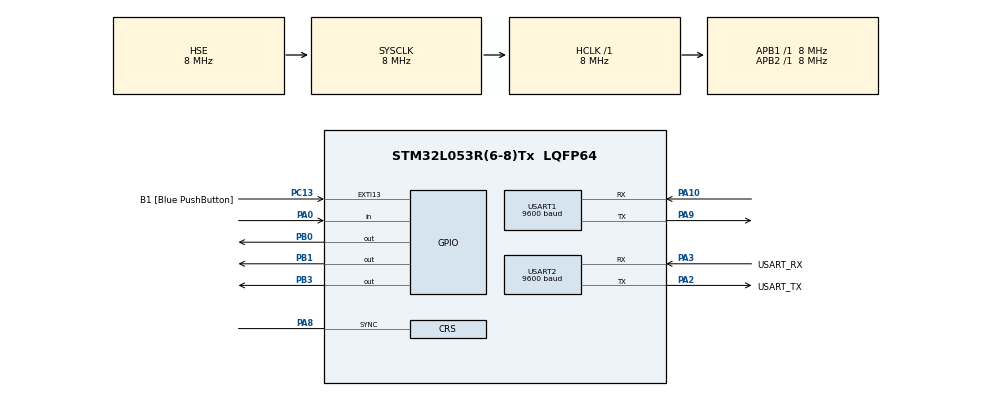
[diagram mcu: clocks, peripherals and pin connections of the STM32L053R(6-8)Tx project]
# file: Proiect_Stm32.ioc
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Mcu.Family=STM32L0
Mcu.Name=STM32L053R(6-8)Tx
Mcu.Package=LQFP64
NVIC.USART1_IRQn=true\:0\:0\:false\:false\:true\:true\:true\:true
PA0.Signal=GPIO_Input
PA10.Mode=Asynchronous
PA10.Signal=USART1_RX
PA13.GPIO_Label=TMS
PA13.Mode=Serial_Wire
PA13.Signal=SYS_SWDIO
PA14.GPIO_Label=TCK
PA14.Mode=Serial_Wire
PA14.Signal=SYS_SWCLK
PA2.GPIO_Label=USART_TX
PA2.Mode=Asynchronous
PA2.Signal=USART2_TX
PA3.GPIO_Label=USART_RX
PA3.Mode=Asynchronous
PA3.Signal=USART2_RX
PA8.Mode=CRS SYNC Source GPIO
PA8.Signal=CRS_SYNC
PA9.Mode=Asynchronous
PA9.Signal=USART1_TX
PB0.Signal=GPIO_Output
PB1.Signal=GPIO_Output
PB3.Signal=GPIO_Output
PC13.GPIO_Label=B1 [Blue PushButton]
PC13.GPIO_ModeDefaultEXTI=GPIO_MODE_IT_FALLING
PC13.Signal=GPXTI13
PC14-OSC32_IN.Mode=LSE-External-Oscillator
PC14-OSC32_IN.Signal=RCC_OSC32_IN
PC15-OSC32_OUT.Mode=LSE-External-Oscillator
PC15-OSC32_OUT.Signal=RCC_OSC32_OUT
PH0-OSC_IN.Mode=HSE-External-Clock-Source
PH0-OSC_IN.Signal=RCC_OSC_IN
PH1-OSC_OUT.Signal=RCC_OSC_OUT
ProjectManager.HeapSize=0x200
ProjectManager.StackSize=0x400
ProjectManager.TargetToolchain=STM32CubeIDE
RCC.AHBFreq_Value=8000000
RCC.APB1Freq_Value=8000000
RCC.APB1TimFreq_Value=8000000
RCC.APB2Freq_Value=8000000
RCC.APB2TimFreq_Value=8000000
RCC.HCLKFreq_Value=8000000
RCC.HSE_VALUE=8000000
RCC.HSI16_VALUE=16000000
RCC.HSI48_VALUE=48000000
RCC.HSI_VALUE=16000000
RCC.MSI_VALUE=2097000
RCC.SYSCLKFreq_VALUE=8000000
RCC.SYSCLKSource=RCC_SYSCLKSOURCE_HSE
RCC.VCOOutputFreq_Value=48000000
USART1.BaudRate=9600
USART1.VirtualMode-Asynchronous=VM_ASYNC
USART2.BaudRate=9600
USART2.RxPinLevelInvertParam=ADVFEATURE_RXINV_DISABLE
USART2.TxPinLevelInvertParam=ADVFEATURE_TXINV_DISABLE
USART2.VirtualMode-Asynchronous=VM_ASYNC
board=NUCLEO-L053R8

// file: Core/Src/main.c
/* USER CODE BEGIN Header */
/**
  ******************************************************************************
  * @file           : main.c
  * @brief          : Test STM32L053R8 + LED (PB0) + BUZZER (PB1)
  *                   + DHT11 (PA0) + HC-05 (USART1 PA9/PA10)
  ******************************************************************************
  */
/* USER CODE END Header */
#include "main.h"

/* USER CODE BEGIN Includes */
#include <stdio.h>
#include <string.h>
/* USER CODE END Includes */

/* USER CODE BEGIN PD */

#define DHT11_PORT GPIOA
#define DHT11_PIN  GPIO_PIN_0

#define TEMP_THRESHOLD  28    // prag temperatura pentru alarma (°C)

/* USER CODE END PD */

UART_HandleTypeDef huart1;
UART_HandleTypeDef huart2;

/* USER CODE BEGIN PV */

uint8_t temperature = 0;
uint8_t humidity    = 0;
uint8_t dht_raw[5] = {0};

/* USER CODE END PV */

void SystemClock_Config(void);
static void MX_GPIO_Init(void);
static void MX_USART2_UART_Init(void);
static void MX_USART1_UART_Init(void);
/* USER CODE BEGIN PFP */

void delay_us(uint16_t us);
void DHT11_SetPinOutput(void);
void DHT11_SetPinInput(void);
uint8_t DHT11_Read(uint8_t *temp, uint8_t *hum);
void Buzzer_Beep(uint16_t ms);
void LED_On(void);
void LED_Off(void);

/* USER CODE END PFP */

/* USER CODE BEGIN 0 */

void delay_us(uint16_t us)
{
  /* Delay aproximativ in microsecunde bazat pe bucla.
     Se bazeaza pe SystemCoreClock (~8 MHz). */
  uint32_t cycles = (SystemCoreClock / 1000000) * us / 4;
  while (cycles--)
  {
    __NOP();
  }
}

void DHT11_SetPinOutput(void)
{
  GPIO_InitTypeDef GPIO_InitStruct = {0};
  GPIO_InitStruct.Pin = DHT11_PIN;
  GPIO_InitStruct.Mode = GPIO_MODE_OUTPUT_PP;
  GPIO_InitStruct.Pull = GPIO_NOPULL;
  GPIO_InitStruct.Speed = GPIO_SPEED_FREQ_LOW;
  HAL_GPIO_Init(DHT11_PORT, &GPIO_InitStruct);
}

void DHT11_SetPinInput(void)
{
  GPIO_InitTypeDef GPIO_InitStruct = {0};
  GPIO_InitStruct.Pin = DHT11_PIN;
  GPIO_InitStruct.Mode = GPIO_MODE_INPUT;
  GPIO_InitStruct.Pull = GPIO_NOPULL;
  HAL_GPIO_Init(DHT11_PORT, &GPIO_InitStruct);
}

/* Returneaza 0 daca citirea a reusit */
uint8_t DHT11_Read(uint8_t *temp, uint8_t *hum)
{
  uint8_t data[5] = {0};
  uint8_t i, j;
  uint32_t timeout;

  /* 1. start signal de la MCU */
  DHT11_SetPinOutput();
  HAL_GPIO_WritePin(DHT11_PORT, DHT11_PIN, GPIO_PIN_RESET);
  HAL_Delay(20);                // min 18 ms low

  HAL_GPIO_WritePin(DHT11_PORT, DHT11_PIN, GPIO_PIN_SET);
  delay_us(30);                 // 20-40 us high

  DHT11_SetPinInput();

  /* 2. Raspuns senzor (80us low + 80us high) */
  timeout = 0;
  while (HAL_GPIO_ReadPin(DHT11_PORT, DHT11_PIN) == GPIO_PIN_SET)
  {
    if (++timeout > 10000) return 1;
  }

  timeout = 0;
  while (HAL_GPIO_ReadPin(DHT11_PORT, DHT11_PIN) == GPIO_PIN_RESET)
  {
    if (++timeout > 10000) return 2;
  }

  timeout = 0;
  while (HAL_GPIO_ReadPin(DHT11_PORT, DHT11_PIN) == GPIO_PIN_SET)
  {
    if (++timeout > 10000) return 3;
  }

  /* 3. Citire 5 octeti (40 biti) – metoda "sample la 35us" */
  for (j = 0; j < 5; j++)
  {
    uint8_t byte = 0;
    for (i = 0; i < 8; i++)
    {
      /* asteptam inceputul bitului: pin LOW -> HIGH */
      timeout = 0;
      while (HAL_GPIO_ReadPin(DHT11_PORT, DHT11_PIN) == GPIO_PIN_RESET)
      {
        if (++timeout > 10000) return 4;
      }

      /* asteptam ~35us dupa frontul crescator */
      delay_us(35);

      /* citim nivelul: HIGH = 1, LOW = 0 */
      if (HAL_GPIO_ReadPin(DHT11_PORT, DHT11_PIN) == GPIO_PIN_SET)
      {
        byte |= (1 << (7 - i));
      }

      /* asteptam sa revina LOW inainte de urmatorul bit */
      timeout = 0;
      while (HAL_GPIO_ReadPin(DHT11_PORT, DHT11_PIN) == GPIO_PIN_SET)
      {
        if (++timeout > 10000) break;
      }
    }
    data[j] = byte;
  }

  /* 4. Copiem datele in buffer global pentru debug */
  for (i = 0; i < 5; i++)
  {
    dht_raw[i] = data[i];
  }

  *hum  = data[0]; // umiditate intreaga
  *temp = data[2]; // temperatura intreaga

  uint8_t sum = data[0] + data[1] + data[2] + data[3];

  if ((uint8_t)sum != data[4])
  {
    // checksum gresit, dar intoarcem totusi datele pentru debug
    return 5;
  }

  return 0;
}

void Buzzer_Beep(uint16_t ms)
{
  HAL_GPIO_WritePin(GPIOB, GPIO_PIN_1, GPIO_PIN_SET);
  HAL_Delay(ms);
  HAL_GPIO_WritePin(GPIOB, GPIO_PIN_1, GPIO_PIN_RESET);
}

void LED_On(void)
{
  HAL_GPIO_WritePin(GPIOB, GPIO_PIN_0, GPIO_PIN_SET);
}

void LED_Off(void)
{
  HAL_GPIO_WritePin(GPIOB, GPIO_PIN_0, GPIO_PIN_RESET);
}

/* USER CODE END 0 */

int main(void)
{

  /* MCU Configuration--------------------------------------------------------*/

  /* Reset of all peripherals, Initializes the Flash interface and the Systick. */
  HAL_Init();

  /* Configure the system clock */
  SystemClock_Config();

  /* Initialize all configured peripherals */
  MX_GPIO_Init();
  MX_USART2_UART_Init();
  MX_USART1_UART_Init();
  /* USER CODE BEGIN 2 */

  char msg[64];
  uint8_t status;

  /* USER CODE END 2 */

  /* Infinite loop */
  /* USER CODE BEGIN WHILE */
  while (1)
  {
    status = DHT11_Read(&temperature, &humidity);

    // Formam un mesaj detaliat
    snprintf(msg, sizeof(msg),
             "st=%d T=%dC H=%d%% raw=%d,%d,%d,%d,%d\r\n",
             status,
             temperature,
             humidity,
             dht_raw[0], dht_raw[1], dht_raw[2], dht_raw[3], dht_raw[4]);

    HAL_UART_Transmit(&huart1, (uint8_t*)msg, (uint16_t)strlen(msg), HAL_MAX_DELAY);

    HAL_Delay(2000);
  }

  /* USER CODE END 3 */
}

void SystemClock_Config(void)
{
  RCC_OscInitTypeDef RCC_OscInitStruct = {0};
  RCC_ClkInitTypeDef RCC_ClkInitStruct = {0};
  RCC_PeriphCLKInitTypeDef PeriphClkInit = {0};
  RCC_CRSInitTypeDef RCC_CRSInitStruct = {0};

  /** Configure the main internal regulator output voltage
  */
  __HAL_PWR_VOLTAGESCALING_CONFIG(PWR_REGULATOR_VOLTAGE_SCALE1);

  /** Initializes the RCC Oscillators according to the specified parameters
  * in the RCC_OscInitTypeDef structure.
  */
  RCC_OscInitStruct.OscillatorType = RCC_OSCILLATORTYPE_HSE;
  RCC_OscInitStruct.HSEState = RCC_HSE_BYPASS;
  RCC_OscInitStruct.PLL.PLLState = RCC_PLL_NONE;
  if (HAL_RCC_OscConfig(&RCC_OscInitStruct) != HAL_OK)
  {
    Error_Handler();
  }

  /** Initializes the CPU, AHB and APB buses clocks
  */
  RCC_ClkInitStruct.ClockType = RCC_CLOCKTYPE_HCLK|RCC_CLOCKTYPE_SYSCLK
                              |RCC_CLOCKTYPE_PCLK1|RCC_CLOCKTYPE_PCLK2;
  RCC_ClkInitStruct.SYSCLKSource = RCC_SYSCLKSOURCE_HSE;
  RCC_ClkInitStruct.AHBCLKDivider = RCC_SYSCLK_DIV1;
  RCC_ClkInitStruct.APB1CLKDivider = RCC_HCLK_DIV1;
  RCC_ClkInitStruct.APB2CLKDivider = RCC_HCLK_DIV1;

  if (HAL_RCC_ClockConfig(&RCC_ClkInitStruct, FLASH_LATENCY_0) != HAL_OK)
  {
    Error_Handler();
  }
  PeriphClkInit.PeriphClockSelection = RCC_PERIPHCLK_USART1|RCC_PERIPHCLK_USART2;
  PeriphClkInit.Usart1ClockSelection = RCC_USART1CLKSOURCE_PCLK2;
  PeriphClkInit.Usart2ClockSelection = RCC_USART2CLKSOURCE_PCLK1;
  if (HAL_RCCEx_PeriphCLKConfig(&PeriphClkInit) != HAL_OK)
  {
    Error_Handler();
  }

  /** Enable the SYSCFG APB clock
  */
  __HAL_RCC_CRS_CLK_ENABLE();

  /** Configures CRS
  */
  RCC_CRSInitStruct.Prescaler = RCC_CRS_SYNC_DIV1;
  RCC_CRSInitStruct.Source = RCC_CRS_SYNC_SOURCE_GPIO;
  RCC_CRSInitStruct.Polarity = RCC_CRS_SYNC_POLARITY_RISING;
  RCC_CRSInitStruct.ReloadValue = __HAL_RCC_CRS_RELOADVALUE_CALCULATE(48000000,1);
  RCC_CRSInitStruct.ErrorLimitValue = 34;
  RCC_CRSInitStruct.HSI48CalibrationValue = 32;

  HAL_RCCEx_CRSConfig(&RCC_CRSInitStruct);
}

static void MX_USART1_UART_Init(void)
{
  huart1.Instance = USART1;
  huart1.Init.BaudRate = 9600;
  huart1.Init.WordLength = UART_WORDLENGTH_8B;
  huart1.Init.StopBits = UART_STOPBITS_1;
  huart1.Init.Parity = UART_PARITY_NONE;
  huart1.Init.Mode = UART_MODE_TX_RX;
  huart1.Init.HwFlowCtl = UART_HWCONTROL_NONE;
  huart1.Init.OverSampling = UART_OVERSAMPLING_16;
  huart1.Init.OneBitSampling = UART_ONE_BIT_SAMPLE_DISABLE;
  huart1.AdvancedInit.AdvFeatureInit = UART_ADVFEATURE_NO_INIT;
  if (HAL_UART_Init(&huart1) != HAL_OK)
  {
    Error_Handler();
  }
}

static void MX_USART2_UART_Init(void)
{
  huart2.Instance = USART2;
  huart2.Init.BaudRate = 9600;
  huart2.Init.WordLength = UART_WORDLENGTH_8B;
  huart2.Init.StopBits = UART_STOPBITS_1;
  huart2.Init.Parity = UART_PARITY_NONE;
  huart2.Init.Mode = UART_MODE_TX_RX;
  huart2.Init.HwFlowCtl = UART_HWCONTROL_NONE;
  huart2.Init.OverSampling = UART_OVERSAMPLING_16;
  huart2.Init.OneBitSampling = UART_ONE_BIT_SAMPLE_DISABLE;
  huart2.AdvancedInit.AdvFeatureInit = UART_ADVFEATURE_NO_INIT;
  if (HAL_UART_Init(&huart2) != HAL_OK)
  {
    Error_Handler();
  }
}

static void MX_GPIO_Init(void)
{
  GPIO_InitTypeDef GPIO_InitStruct = {0};

  /* GPIO Ports Clock Enable */
  __HAL_RCC_GPIOC_CLK_ENABLE();
  __HAL_RCC_GPIOH_CLK_ENABLE();
  __HAL_RCC_GPIOA_CLK_ENABLE();
  __HAL_RCC_GPIOB_CLK_ENABLE();

  /*Configure GPIO pin Output Level */
  HAL_GPIO_WritePin(GPIOB, GPIO_PIN_0|GPIO_PIN_1|GPIO_PIN_3, GPIO_PIN_RESET);

  /*Configure GPIO pin : B1_Pin (buton user) */
  GPIO_InitStruct.Pin = B1_Pin;
  GPIO_InitStruct.Mode = GPIO_MODE_IT_FALLING;
  GPIO_InitStruct.Pull = GPIO_NOPULL;
  HAL_GPIO_Init(B1_GPIO_Port, &GPIO_InitStruct);

  /*Configure GPIO pin : PA0 (initial input, o vom reconfigura pentru DHT11) */
  GPIO_InitStruct.Pin = GPIO_PIN_0;
  GPIO_InitStruct.Mode = GPIO_MODE_INPUT;
  GPIO_InitStruct.Pull = GPIO_NOPULL;
  HAL_GPIO_Init(GPIOA, &GPIO_InitStruct);

  /*Configure GPIO pins : PB0 PB1 PB3 (LED, buzzer, LED onboard)*/
  GPIO_InitStruct.Pin = GPIO_PIN_0|GPIO_PIN_1|GPIO_PIN_3;
  GPIO_InitStruct.Mode = GPIO_MODE_OUTPUT_PP;
  GPIO_InitStruct.Pull = GPIO_NOPULL;
  GPIO_InitStruct.Speed = GPIO_SPEED_FREQ_LOW;
  HAL_GPIO_Init(GPIOB, &GPIO_InitStruct);

  /*Configure GPIO pin : PA8 (AF_USB - default de la placa) */
  GPIO_InitStruct.Pin = GPIO_PIN_8;
  GPIO_InitStruct.Mode = GPIO_MODE_AF_PP;
  GPIO_InitStruct.Pull = GPIO_NOPULL;
  GPIO_InitStruct.Speed = GPIO_SPEED_FREQ_LOW;
  GPIO_InitStruct.Alternate = GPIO_AF2_USB;
  HAL_GPIO_Init(GPIOA, &GPIO_InitStruct);
}

void Error_Handler(void)
{
  __disable_irq();
  while (1)
  {
  }
}
